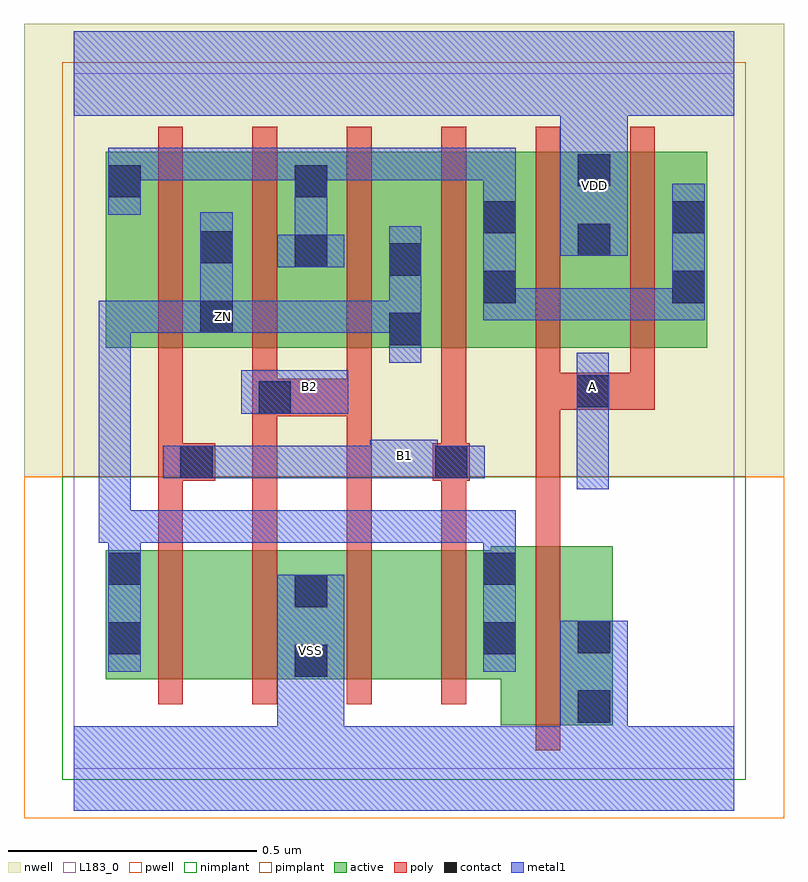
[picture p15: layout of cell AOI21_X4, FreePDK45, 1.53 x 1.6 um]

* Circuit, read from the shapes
.subckt AOI21_X4 A B1 B2 VDD VSS ZN
M1 n1 B1 ZN VSUBS nfet w=0.26u l=0.05u
M2 VSS B2 n1 VSUBS nfet w=0.26u l=0.05u
M3 n2 B2 VSS VSUBS nfet w=0.26u l=0.05u
M4 ZN B1 n2 VSUBS nfet w=0.26u l=0.05u
M5 VSS A ZN VSUBS nfet w=0.36u l=0.05u
M6 ZN B1 n3 n4 pfet w=0.395u l=0.05u m=2
M7 n3 B2 ZN n4 pfet w=0.395u l=0.05u m=2
M8 VDD A n3 n4 pfet w=0.395u l=0.05u m=2
.ends

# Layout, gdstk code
import gdstk
lib = gdstk.Library(unit=1e-6, precision=1e-10)
def R(c, l, rs):  # rectangles x0, y0, x1, y1
    for r in rs: c.add(gdstk.rectangle(r[:2], r[2:], *l))
def P(c, l, *ps):  # polygons
    for p in ps: c.add(gdstk.Polygon(p, *l))
active = (1, 0)
pwell = (2, 0)
nwell = (3, 0)
nimplant = (4, 0)
pimplant = (5, 0)
poly = (9, 0)
contact = (10, 0)
metal1 = (11, 0)
L183_0 = (183, 0)

aoi21_x4 = lib.new_cell('AOI21_X4')
R(aoi21_x4, active, [(0.065,0.8475,1.275,1.2425)])
P(aoi21_x4, active, [(0.065,0.18),(0.86,0.18),(0.86,0.0875),(1.085,0.0875),(1.085,0.4475),(0.84,0.4475),(0.84,0.44),(0.065,0.44)])
R(aoi21_x4, pwell, [(-0.1,-0.1,1.43,0.5875)])
R(aoi21_x4, nwell, [(-0.1,0.5875,1.43,1.5)])
R(aoi21_x4, nimplant, [(-0.0225,-0.0225,1.3525,0.5875)])
R(aoi21_x4, pimplant, [(-0.0225,0.5875,1.3525,1.4225)])
P(aoi21_x4, poly, [(0.17,0.13),(0.22,0.13),(0.22,0.58),(0.285,0.58),(0.285,0.655),(0.22,0.655),(0.22,1.2925),(0.17,1.2925)],
  [(0.36,0.13),(0.41,0.13),(0.41,0.71),(0.55,0.71),(0.55,0.13),(0.6,0.13),(0.6,1.2925),(0.55,1.2925),(0.55,0.785),(0.41,0.785),(0.41,1.2925),(0.36,1.2925)],
  [(0.7225,0.58),(0.74,0.58),(0.74,0.13),(0.79,0.13),(0.79,0.58),(0.7975,0.58),(0.7975,0.655),(0.79,0.655),(0.79,1.2925),(0.74,1.2925),(0.74,0.655),(0.7225,0.655)],
  [(0.93,0.0375),(0.98,0.0375),(0.98,0.7225),(1.17,0.7225),(1.17,1.2925),(1.12,1.2925),(1.12,0.7975),(0.98,0.7975),(0.98,1.2925),(0.93,1.2925)])
R(aoi21_x4, contact, [(1.015,0.0925,1.08,0.1575), (0.445,0.185,0.51,0.25), (0.07,0.23,0.135,0.295), (0.825,0.23,0.89,0.295), (1.015,0.2325,1.08,0.2975), (0.445,0.325,0.51,0.39), (0.07,0.37,0.135,0.435), (0.825,0.37,0.89,0.435), (0.215,0.585,0.28,0.65), (0.7275,0.585,0.7925,0.65), (0.3725,0.715,0.4375,0.78), (1.0125,0.7275,1.0775,0.7925), (0.635,0.8525,0.7,0.9175), (0.255,0.8775,0.32,0.9425), (0.825,0.9375,0.89,1.0025), (1.205,0.9375,1.27,1.0025), (0.635,0.9925,0.7,1.0575), (0.445,1.01,0.51,1.075), (0.255,1.0175,0.32,1.0825), (1.015,1.0325,1.08,1.0975), (0.825,1.0775,0.89,1.1425), (1.205,1.0775,1.27,1.1425), (0.07,1.15,0.135,1.215), (0.445,1.15,0.51,1.215), (1.015,1.1725,1.08,1.2375)])
R(aoi21_x4, metal1, [(1.0125,0.5625,1.0775,0.8375), (0.3375,0.715,0.5525,0.8025)])
P(aoi21_x4, metal1, [(0.51,1.185),(0.825,1.185),(0.825,0.9025),(1.27,0.9025),(1.27,1.1775),(1.205,1.1775),(1.205,0.9675),(0.89,0.9675),(0.89,1.25),(0.07,1.25),(0.07,1.115),(0.135,1.115),(0.135,1.185),(0.445,1.185),(0.445,1.075),(0.41,1.075),(0.41,1.01),(0.545,1.01),(0.545,1.075),(0.51,1.075)],
  [(0,-0.085),(1.33,-0.085),(1.33,0.085),(1.115,0.085),(1.115,0.2975),(0.98,0.2975),(0.98,0.085),(0.545,0.085),(0.545,0.39),(0.41,0.39),(0.41,0.085),(0,0.085)],
  [(0,1.315),(0.98,1.315),(0.98,1.0325),(1.115,1.0325),(1.115,1.315),(1.33,1.315),(1.33,1.485),(0,1.485)],
  [(0.18,0.585),(0.8275,0.585),(0.8275,0.65),(0.7325,0.65),(0.7325,0.6625),(0.5975,0.6625),(0.5975,0.65),(0.18,0.65)],
  [(0.05,0.455),(0.07,0.455),(0.07,0.195),(0.135,0.195),(0.135,0.455),(0.825,0.455),(0.825,0.195),(0.89,0.195),(0.89,0.52),(0.115,0.52),(0.115,0.8775),(0.635,0.8775),(0.635,0.8175),(0.7,0.8175),(0.7,1.0925),(0.635,1.0925),(0.635,0.9425),(0.32,0.9425),(0.32,1.12),(0.255,1.12),(0.255,0.9425),(0.05,0.9425)])
R(aoi21_x4, L183_0, [(0,0,1.33,1.4)])
aoi21_x4.add(gdstk.Label('A', (1.045,0.77), layer=11, texttype=0))
aoi21_x4.add(gdstk.Label('B1', (0.665,0.63), layer=11, texttype=0))
aoi21_x4.add(gdstk.Label('B2', (0.475,0.77), layer=11, texttype=0))
aoi21_x4.add(gdstk.Label('VDD', (1.0475,1.1737), layer=11, texttype=0))
aoi21_x4.add(gdstk.Label('VSS', (0.4775,0.2375), layer=11, texttype=0))
aoi21_x4.add(gdstk.Label('ZN', (0.3025,0.91), layer=11, texttype=0))

lib.write_gds('AOI21_X4.gds')
